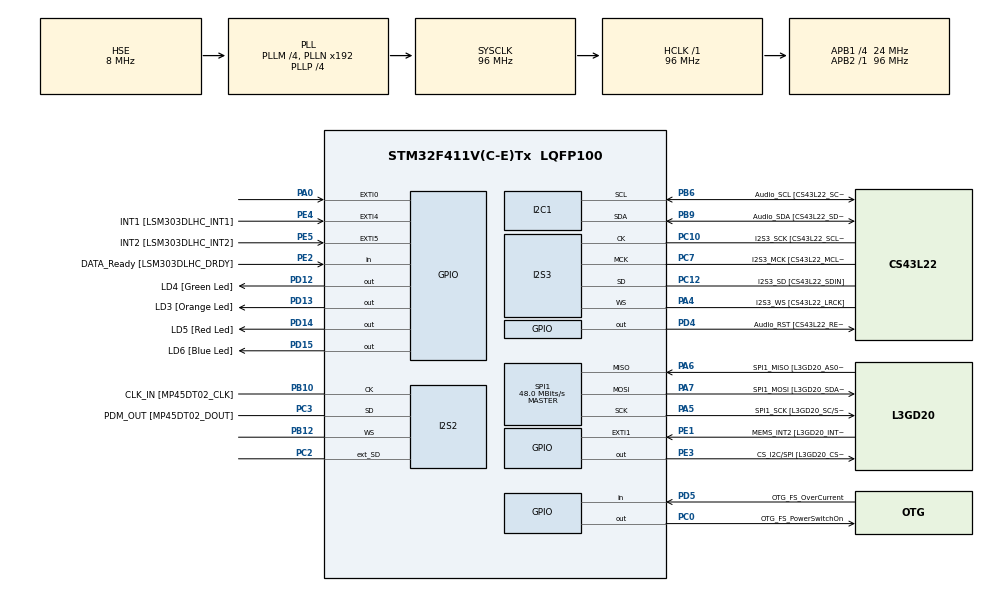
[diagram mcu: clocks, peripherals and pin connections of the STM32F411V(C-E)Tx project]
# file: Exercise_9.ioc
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FREERTOS.Mutexes01=CriticalResourceMutex,Dynamic,NULL
FREERTOS.Tasks01=GreenLED_Task,0,128,Start_GreenLED_Task,Default,NULL,Dynamic,NULL,NULL;RedLED_Task,0,128,Start_RedLED_Task,Default,NULL,Dynamic,NULL,NULL;OrangeLED_Task,1,128,Start_OrangeLED_Task,Default,NULL,Dynamic,NULL,NULL
I2S2.AudioFreq=I2S_AUDIOFREQ_96K
I2S2.ErrorAudioFreq=0.15 %
I2S2.FullDuplexMode=I2S_FULLDUPLEXMODE_ENABLE
I2S2.Instance=SPI$Index
I2S2.RealAudioFreq=96.153 KHz
I2S2.VirtualMode=I2S_MODE_MASTER
I2S3.AudioFreq=I2S_AUDIOFREQ_96K
I2S3.ErrorAudioFreq=-6.99 %
I2S3.FullDuplexMode=I2S_FULLDUPLEXMODE_DISABLE
I2S3.Instance=SPI$Index
I2S3.RealAudioFreq=89.285 KHz
I2S3.VirtualMode=I2S_MODE_MASTER
Mcu.Family=STM32F4
Mcu.Name=STM32F411V(C-E)Tx
Mcu.Package=LQFP100
NVIC.PriorityGroup=NVIC_PRIORITYGROUP_4
NVIC.TIM1_UP_TIM10_IRQn=true\:0\:0\:false\:false\:true\:false\:false\:true
NVIC.TimeBase=TIM1_UP_TIM10_IRQn
NVIC.TimeBaseIP=TIM1
PA0-WKUP.GPIO_ModeDefaultEXTI=GPIO_MODE_EVT_RISING
PA0-WKUP.Signal=GPXTI0
PA10.GPIO_Label=OTG_FS_ID
PA10.Signal=USB_OTG_FS_ID
PA11.GPIO_Label=OTG_FS_DM
PA11.Signal=USB_OTG_FS_DM
PA12.GPIO_Label=OTG_FS_DP
PA12.Signal=USB_OTG_FS_DP
PA13.GPIO_Label=SWDIO
PA13.Mode=Serial_Wire
PA13.Signal=SYS_JTMS-SWDIO
PA14.GPIO_Label=SWCLK
PA14.Mode=Serial_Wire
PA14.Signal=SYS_JTCK-SWCLK
PA4.GPIO_Label=I2S3_WS [CS43L22_LRCK]
PA4.GPIO_Mode=GPIO_MODE_AF_PP
PA4.GPIO_PuPd=GPIO_NOPULL
PA4.GPIO_Speed=GPIO_SPEED_FREQ_LOW
PA4.Mode=Half_Duplex_Master
PA4.Signal=I2S3_WS
PA5.GPIO_Label=SPI1_SCK [L3GD20_SC/SPC]
PA5.Mode=Full_Duplex_Master
PA5.Signal=SPI1_SCK
PA6.GPIO_Label=SPI1_MISO [L3GD20_AS0/SDO]
PA6.Mode=Full_Duplex_Master
PA6.Signal=SPI1_MISO
PA7.GPIO_Label=SPI1_MOSI [L3GD20_SDA/SDI/SDO]
PA7.Mode=Full_Duplex_Master
PA7.Signal=SPI1_MOSI
PA9.GPIO_Label=VBUS_FS
PA9.Signal=USB_OTG_FS_VBUS
PB10.GPIO_Label=CLK_IN [MP45DT02_CLK]
PB10.Mode=Full_Duplex_Master
PB10.Signal=I2S2_CK
PB12.Mode=Full_Duplex_Master
PB12.Signal=I2S2_WS
PB3.GPIO_Label=SWO
PB3.Signal=SYS_JTDO-SWO
PB6.GPIO_Label=Audio_SCL [CS43L22_SCL]
PB6.GPIO_Mode=GPIO_MODE_AF_OD
PB6.GPIO_PuPd=GPIO_NOPULL
PB6.GPIO_Speed=GPIO_SPEED_FREQ_LOW
PB6.Mode=I2C
PB6.Signal=I2C1_SCL
PB9.GPIO_Label=Audio_SDA [CS43L22_SDA]
PB9.GPIO_Mode=GPIO_MODE_AF_OD
PB9.GPIO_PuPd=GPIO_NOPULL
PB9.GPIO_Speed=GPIO_SPEED_FREQ_LOW
PB9.Mode=I2C
PB9.Signal=I2C1_SDA
PC0.GPIO_Label=OTG_FS_PowerSwitchOn
PC0.PinState=GPIO_PIN_SET
PC0.Signal=GPIO_Output
PC10.GPIO_Label=I2S3_SCK [CS43L22_SCLK]
PC10.GPIO_Mode=GPIO_MODE_AF_PP
PC10.GPIO_PuPd=GPIO_NOPULL
PC10.GPIO_Speed=GPIO_SPEED_FREQ_LOW
PC10.Mode=Half_Duplex_Master
PC10.Signal=I2S3_CK
PC12.GPIO_Label=I2S3_SD [CS43L22_SDIN]
PC12.GPIO_Mode=GPIO_MODE_AF_PP
PC12.GPIO_PuPd=GPIO_NOPULL
PC12.GPIO_Speed=GPIO_SPEED_FREQ_LOW
PC12.Mode=Half_Duplex_Master
PC12.Signal=I2S3_SD
PC14-OSC32_IN.GPIO_Label=PC14-OSC32_IN
PC14-OSC32_IN.Mode=LSE-External-Oscillator
PC14-OSC32_IN.Signal=RCC_OSC32_IN
PC15-OSC32_OUT.GPIO_Label=PC15-OSC32_OUT
PC15-OSC32_OUT.Mode=LSE-External-Oscillator
PC15-OSC32_OUT.Signal=RCC_OSC32_OUT
PC2.Mode=Full_Duplex_Master
PC2.Signal=I2S2_ext_SD
PC3.GPIO_Label=PDM_OUT [MP45DT02_DOUT]
PC3.Mode=Full_Duplex_Master
PC3.Signal=I2S2_SD
PC7.GPIO_Label=I2S3_MCK [CS43L22_MCLK]
PC7.GPIO_Mode=GPIO_MODE_AF_PP
PC7.GPIO_PuPd=GPIO_NOPULL
PC7.GPIO_Speed=GPIO_SPEED_FREQ_LOW
PC7.Mode=Master_Clock_Activated
PC7.Signal=I2S3_MCK
PD12.GPIO_Label=LD4 [Green Led]
PD12.GPIO_PuPd=GPIO_NOPULL
PD12.GPIO_Speed=GPIO_SPEED_FREQ_LOW
PD12.Signal=GPIO_Output
PD13.GPIO_Label=LD3 [Orange Led]
PD13.GPIO_PuPd=GPIO_NOPULL
PD13.GPIO_Speed=GPIO_SPEED_FREQ_LOW
PD13.Signal=GPIO_Output
PD14.GPIO_Label=LD5 [Red Led]
PD14.GPIO_PuPd=GPIO_NOPULL
PD14.GPIO_Speed=GPIO_SPEED_FREQ_LOW
PD14.Signal=GPIO_Output
PD15.GPIO_Label=LD6 [Blue Led]
PD15.GPIO_PuPd=GPIO_NOPULL
PD15.GPIO_Speed=GPIO_SPEED_FREQ_LOW
PD15.Signal=GPIO_Output
PD4.GPIO_Label=Audio_RST [CS43L22_RESET]
PD4.Signal=GPIO_Output
PD5.GPIO_Label=OTG_FS_OverCurrent
PD5.Signal=GPIO_Input
PE1.GPIO_Label=MEMS_INT2 [L3GD20_INT2]
PE1.GPIO_ModeDefaultEXTI=GPIO_MODE_EVT_RISING
PE1.Signal=GPXTI1
PE2.GPIO_Label=DATA_Ready [LSM303DLHC_DRDY]
PE2.Signal=GPIO_Input
PE3.GPIO_Label=CS_I2C/SPI [L3GD20_CS_I2C/SPI]
PE3.Signal=GPIO_Output
PE4.GPIO_Label=INT1 [LSM303DLHC_INT1]
PE4.GPIO_ModeDefaultEXTI=GPIO_MODE_EVT_RISING
PE4.Signal=GPXTI4
PE5.GPIO_Label=INT2 [LSM303DLHC_INT2]
PE5.GPIO_ModeDefaultEXTI=GPIO_MODE_EVT_RISING
PE5.Signal=GPXTI5
PH0\ -\ OSC_IN.GPIO_Label=PH0-OSC_IN
PH0\ -\ OSC_IN.Mode=HSE-External-Clock-Source
PH0\ -\ OSC_IN.Signal=RCC_OSC_IN
PH1\ -\ OSC_OUT.GPIO_Label=PH1-OSC_OUT
PH1\ -\ OSC_OUT.Mode=HSE-External-Clock-Source
PH1\ -\ OSC_OUT.Signal=RCC_OSC_OUT
ProjectManager.HeapSize=0x200
ProjectManager.StackSize=0x400
ProjectManager.TargetToolchain=STM32CubeIDE
RCC.48MHZClocksFreq_Value=48000000
RCC.AHBFreq_Value=96000000
RCC.APB1CLKDivider=RCC_HCLK_DIV4
RCC.APB1Freq_Value=24000000
RCC.APB1TimFreq_Value=48000000
RCC.APB2Freq_Value=96000000
RCC.APB2TimFreq_Value=96000000
RCC.CortexFreq_Value=96000000
RCC.HCLKFreq_Value=96000000
RCC.HSE_VALUE=8000000
RCC.HSI_VALUE=16000000
RCC.PLLI2SM=5
RCC.PLLI2SN=200
RCC.PLLM=4
RCC.PLLP=RCC_PLLP_DIV4
RCC.PLLQ=8
RCC.PLLSourceVirtual=RCC_PLLSOURCE_HSE
RCC.SYSCLKFreq_VALUE=96000000
RCC.SYSCLKSource=RCC_SYSCLKSOURCE_PLLCLK
RCC.VCOOutputFreq_Value=384000000
SPI1.BaudRatePrescaler=SPI_BAUDRATEPRESCALER_2
SPI1.CalculateBaudRate=48.0 MBits/s
SPI1.Direction=SPI_DIRECTION_2LINES
SPI1.Mode=SPI_MODE_MASTER
SPI1.VirtualType=VM_MASTER
VP_FREERTOS_VS_CMSIS_V1.Mode=CMSIS_V1
VP_SYS_VS_tim1.Mode=TIM1
board=STM32F411E-DISCO

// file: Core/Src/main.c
/* USER CODE BEGIN Header */
/**
  ******************************************************************************
  * @file           : main.c
  * @brief          : Main program body
  ******************************************************************************
  * @attention
  *
  * <h2><center>&copy; Copyright (c) 2023 STMicroelectronics.
  * All rights reserved.</center></h2>
  *
  * This software component is licensed by ST under Ultimate Liberty license
  * SLA0044, the "License"; You may not use this file except in compliance with
  * the License. You may obtain a copy of the License at:
  *                             www.st.com/SLA0044
  *
  ******************************************************************************
  */
/* USER CODE END Header */

#include "main.h"
#include "cmsis_os.h"

/* USER CODE BEGIN PD */
#define green GPIO_PIN_12
#define orange GPIO_PIN_13
#define red GPIO_PIN_14
#define blue GPIO_PIN_15
/* USER CODE END PD */

I2C_HandleTypeDef hi2c1;

I2S_HandleTypeDef hi2s2;
I2S_HandleTypeDef hi2s3;

SPI_HandleTypeDef hspi1;

osThreadId GreenLED_TaskHandle;
osThreadId RedLED_TaskHandle;
osThreadId OrangeLED_TaskHandle;
osMutexId CriticalResourceMutexHandle;
/* USER CODE BEGIN PV */
int Start_Flag = 1;
/* USER CODE END PV */

void SystemClock_Config(void);
static void MX_GPIO_Init(void);
static void MX_I2C1_Init(void);
static void MX_I2S2_Init(void);
static void MX_I2S3_Init(void);
static void MX_SPI1_Init(void);
void Start_GreenLED_Task(void const * argument);
void Start_RedLED_Task(void const * argument);
void Start_OrangeLED_Task(void const * argument);

int main(void)
{

  /* MCU Configuration--------------------------------------------------------*/

  /* Reset of all peripherals, Initializes the Flash interface and the Systick. */
  HAL_Init();

  /* Configure the system clock */
  SystemClock_Config();

  /* Initialize all configured peripherals */
  MX_GPIO_Init();
  MX_I2C1_Init();
  MX_I2S2_Init();
  MX_I2S3_Init();
  MX_SPI1_Init();

  /* Create the mutex(es) */
  /* definition and creation of CriticalResourceMutex */
  osMutexDef(CriticalResourceMutex);
  CriticalResourceMutexHandle = osMutexCreate(osMutex(CriticalResourceMutex));

  /* Create the thread(s) */
  /* definition and creation of GreenLED_Task */
  osThreadDef(GreenLED_Task, Start_GreenLED_Task, osPriorityNormal, 0, 128);
  GreenLED_TaskHandle = osThreadCreate(osThread(GreenLED_Task), NULL);

  /* definition and creation of RedLED_Task */
  osThreadDef(RedLED_Task, Start_RedLED_Task, osPriorityNormal, 0, 128);
  RedLED_TaskHandle = osThreadCreate(osThread(RedLED_Task), NULL);

  /* definition and creation of OrangeLED_Task */
  osThreadDef(OrangeLED_Task, Start_OrangeLED_Task, osPriorityAboveNormal, 0, 128);
  OrangeLED_TaskHandle = osThreadCreate(osThread(OrangeLED_Task), NULL);

  /* Start scheduler */
  osKernelStart();

  /* We should never get here as control is now taken by the scheduler */

  /* Infinite loop */
  while (1)
  {

  }
}

void SystemClock_Config(void)
{
  RCC_OscInitTypeDef RCC_OscInitStruct = {0};
  RCC_ClkInitTypeDef RCC_ClkInitStruct = {0};
  RCC_PeriphCLKInitTypeDef PeriphClkInitStruct = {0};

  /** Configure the main internal regulator output voltage
  */
  __HAL_RCC_PWR_CLK_ENABLE();
  __HAL_PWR_VOLTAGESCALING_CONFIG(PWR_REGULATOR_VOLTAGE_SCALE1);
  /** Initializes the CPU, AHB and APB busses clocks
  */
  RCC_OscInitStruct.OscillatorType = RCC_OSCILLATORTYPE_HSE;
  RCC_OscInitStruct.HSEState = RCC_HSE_BYPASS;
  RCC_OscInitStruct.PLL.PLLState = RCC_PLL_ON;
  RCC_OscInitStruct.PLL.PLLSource = RCC_PLLSOURCE_HSE;
  RCC_OscInitStruct.PLL.PLLM = 4;
  RCC_OscInitStruct.PLL.PLLN = 192;
  RCC_OscInitStruct.PLL.PLLP = RCC_PLLP_DIV4;
  RCC_OscInitStruct.PLL.PLLQ = 8;
  if (HAL_RCC_OscConfig(&RCC_OscInitStruct) != HAL_OK)
  {
    Error_Handler();
  }
  /** Initializes the CPU, AHB and APB busses clocks
  */
  RCC_ClkInitStruct.ClockType = RCC_CLOCKTYPE_HCLK|RCC_CLOCKTYPE_SYSCLK
                              |RCC_CLOCKTYPE_PCLK1|RCC_CLOCKTYPE_PCLK2;
  RCC_ClkInitStruct.SYSCLKSource = RCC_SYSCLKSOURCE_PLLCLK;
  RCC_ClkInitStruct.AHBCLKDivider = RCC_SYSCLK_DIV1;
  RCC_ClkInitStruct.APB1CLKDivider = RCC_HCLK_DIV4;
  RCC_ClkInitStruct.APB2CLKDivider = RCC_HCLK_DIV1;

  if (HAL_RCC_ClockConfig(&RCC_ClkInitStruct, FLASH_LATENCY_3) != HAL_OK)
  {
    Error_Handler();
  }
  PeriphClkInitStruct.PeriphClockSelection = RCC_PERIPHCLK_I2S;
  PeriphClkInitStruct.PLLI2S.PLLI2SN = 200;
  PeriphClkInitStruct.PLLI2S.PLLI2SM = 5;
  PeriphClkInitStruct.PLLI2S.PLLI2SR = 2;
  if (HAL_RCCEx_PeriphCLKConfig(&PeriphClkInitStruct) != HAL_OK)
  {
    Error_Handler();
  }
}

static void MX_I2C1_Init(void)
{

  hi2c1.Instance = I2C1;
  hi2c1.Init.ClockSpeed = 100000;
  hi2c1.Init.DutyCycle = I2C_DUTYCYCLE_2;
  hi2c1.Init.OwnAddress1 = 0;
  hi2c1.Init.AddressingMode = I2C_ADDRESSINGMODE_7BIT;
  hi2c1.Init.DualAddressMode = I2C_DUALADDRESS_DISABLE;
  hi2c1.Init.OwnAddress2 = 0;
  hi2c1.Init.GeneralCallMode = I2C_GENERALCALL_DISABLE;
  hi2c1.Init.NoStretchMode = I2C_NOSTRETCH_DISABLE;
  if (HAL_I2C_Init(&hi2c1) != HAL_OK)
  {
    Error_Handler();
  }

}

static void MX_I2S2_Init(void)
{

  hi2s2.Instance = SPI2;
  hi2s2.Init.Mode = I2S_MODE_MASTER_TX;
  hi2s2.Init.Standard = I2S_STANDARD_PHILIPS;
  hi2s2.Init.DataFormat = I2S_DATAFORMAT_16B;
  hi2s2.Init.MCLKOutput = I2S_MCLKOUTPUT_DISABLE;
  hi2s2.Init.AudioFreq = I2S_AUDIOFREQ_96K;
  hi2s2.Init.CPOL = I2S_CPOL_LOW;
  hi2s2.Init.ClockSource = I2S_CLOCK_PLL;
  hi2s2.Init.FullDuplexMode = I2S_FULLDUPLEXMODE_ENABLE;
  if (HAL_I2S_Init(&hi2s2) != HAL_OK)
  {
    Error_Handler();
  }

}

static void MX_I2S3_Init(void)
{

  hi2s3.Instance = SPI3;
  hi2s3.Init.Mode = I2S_MODE_MASTER_TX;
  hi2s3.Init.Standard = I2S_STANDARD_PHILIPS;
  hi2s3.Init.DataFormat = I2S_DATAFORMAT_16B;
  hi2s3.Init.MCLKOutput = I2S_MCLKOUTPUT_ENABLE;
  hi2s3.Init.AudioFreq = I2S_AUDIOFREQ_96K;
  hi2s3.Init.CPOL = I2S_CPOL_LOW;
  hi2s3.Init.ClockSource = I2S_CLOCK_PLL;
  hi2s3.Init.FullDuplexMode = I2S_FULLDUPLEXMODE_DISABLE;
  if (HAL_I2S_Init(&hi2s3) != HAL_OK)
  {
    Error_Handler();
  }

}

static void MX_SPI1_Init(void)
{

  /* SPI1 parameter configuration*/
  hspi1.Instance = SPI1;
  hspi1.Init.Mode = SPI_MODE_MASTER;
  hspi1.Init.Direction = SPI_DIRECTION_2LINES;
  hspi1.Init.DataSize = SPI_DATASIZE_8BIT;
  hspi1.Init.CLKPolarity = SPI_POLARITY_LOW;
  hspi1.Init.CLKPhase = SPI_PHASE_1EDGE;
  hspi1.Init.NSS = SPI_NSS_SOFT;
  hspi1.Init.BaudRatePrescaler = SPI_BAUDRATEPRESCALER_2;
  hspi1.Init.FirstBit = SPI_FIRSTBIT_MSB;
  hspi1.Init.TIMode = SPI_TIMODE_DISABLE;
  hspi1.Init.CRCCalculation = SPI_CRCCALCULATION_DISABLE;
  hspi1.Init.CRCPolynomial = 10;
  if (HAL_SPI_Init(&hspi1) != HAL_OK)
  {
    Error_Handler();
  }

}

static void MX_GPIO_Init(void)
{
  GPIO_InitTypeDef GPIO_InitStruct = {0};

  /* GPIO Ports Clock Enable */
  __HAL_RCC_GPIOE_CLK_ENABLE();
  __HAL_RCC_GPIOC_CLK_ENABLE();
  __HAL_RCC_GPIOH_CLK_ENABLE();
  __HAL_RCC_GPIOA_CLK_ENABLE();
  __HAL_RCC_GPIOB_CLK_ENABLE();
  __HAL_RCC_GPIOD_CLK_ENABLE();

  /*Configure GPIO pin Output Level */
  HAL_GPIO_WritePin(CS_I2C_SPI_GPIO_Port, CS_I2C_SPI_Pin, GPIO_PIN_RESET);

  /*Configure GPIO pin Output Level */
  HAL_GPIO_WritePin(OTG_FS_PowerSwitchOn_GPIO_Port, OTG_FS_PowerSwitchOn_Pin, GPIO_PIN_SET);

  /*Configure GPIO pin Output Level */
  HAL_GPIO_WritePin(GPIOD, LD4_Pin|LD3_Pin|LD5_Pin|LD6_Pin
                          |Audio_RST_Pin, GPIO_PIN_RESET);

  /*Configure GPIO pin : DATA_Ready_Pin */
  GPIO_InitStruct.Pin = DATA_Ready_Pin;
  GPIO_InitStruct.Mode = GPIO_MODE_INPUT;
  GPIO_InitStruct.Pull = GPIO_NOPULL;
  HAL_GPIO_Init(DATA_Ready_GPIO_Port, &GPIO_InitStruct);

  /*Configure GPIO pin : CS_I2C_SPI_Pin */
  GPIO_InitStruct.Pin = CS_I2C_SPI_Pin;
  GPIO_InitStruct.Mode = GPIO_MODE_OUTPUT_PP;
  GPIO_InitStruct.Pull = GPIO_NOPULL;
  GPIO_InitStruct.Speed = GPIO_SPEED_FREQ_LOW;
  HAL_GPIO_Init(CS_I2C_SPI_GPIO_Port, &GPIO_InitStruct);

  /*Configure GPIO pins : INT1_Pin INT2_Pin MEMS_INT2_Pin */
  GPIO_InitStruct.Pin = INT1_Pin|INT2_Pin|MEMS_INT2_Pin;
  GPIO_InitStruct.Mode = GPIO_MODE_EVT_RISING;
  GPIO_InitStruct.Pull = GPIO_NOPULL;
  HAL_GPIO_Init(GPIOE, &GPIO_InitStruct);

  /*Configure GPIO pin : OTG_FS_PowerSwitchOn_Pin */
  GPIO_InitStruct.Pin = OTG_FS_PowerSwitchOn_Pin;
  GPIO_InitStruct.Mode = GPIO_MODE_OUTPUT_PP;
  GPIO_InitStruct.Pull = GPIO_NOPULL;
  GPIO_InitStruct.Speed = GPIO_SPEED_FREQ_LOW;
  HAL_GPIO_Init(OTG_FS_PowerSwitchOn_GPIO_Port, &GPIO_InitStruct);

  /*Configure GPIO pin : PA0 */
  GPIO_InitStruct.Pin = GPIO_PIN_0;
  GPIO_InitStruct.Mode = GPIO_MODE_EVT_RISING;
  GPIO_InitStruct.Pull = GPIO_NOPULL;
  HAL_GPIO_Init(GPIOA, &GPIO_InitStruct);

  /*Configure GPIO pins : LD4_Pin LD3_Pin LD5_Pin LD6_Pin
                           Audio_RST_Pin */
  GPIO_InitStruct.Pin = LD4_Pin|LD3_Pin|LD5_Pin|LD6_Pin
                          |Audio_RST_Pin;
  GPIO_InitStruct.Mode = GPIO_MODE_OUTPUT_PP;
  GPIO_InitStruct.Pull = GPIO_NOPULL;
  GPIO_InitStruct.Speed = GPIO_SPEED_FREQ_LOW;
  HAL_GPIO_Init(GPIOD, &GPIO_InitStruct);

  /*Configure GPIO pin : VBUS_FS_Pin */
  GPIO_InitStruct.Pin = VBUS_FS_Pin;
  GPIO_InitStruct.Mode = GPIO_MODE_INPUT;
  GPIO_InitStruct.Pull = GPIO_NOPULL;
  HAL_GPIO_Init(VBUS_FS_GPIO_Port, &GPIO_InitStruct);

  /*Configure GPIO pins : OTG_FS_ID_Pin OTG_FS_DM_Pin OTG_FS_DP_Pin */
  GPIO_InitStruct.Pin = OTG_FS_ID_Pin|OTG_FS_DM_Pin|OTG_FS_DP_Pin;
  GPIO_InitStruct.Mode = GPIO_MODE_AF_PP;
  GPIO_InitStruct.Pull = GPIO_NOPULL;
  GPIO_InitStruct.Speed = GPIO_SPEED_FREQ_VERY_HIGH;
  GPIO_InitStruct.Alternate = GPIO_AF10_OTG_FS;
  HAL_GPIO_Init(GPIOA, &GPIO_InitStruct);

  /*Configure GPIO pin : OTG_FS_OverCurrent_Pin */
  GPIO_InitStruct.Pin = OTG_FS_OverCurrent_Pin;
  GPIO_InitStruct.Mode = GPIO_MODE_INPUT;
  GPIO_InitStruct.Pull = GPIO_NOPULL;
  HAL_GPIO_Init(OTG_FS_OverCurrent_GPIO_Port, &GPIO_InitStruct);

}

/* USER CODE BEGIN 4 */
void Access_Function()
{
	if (Start_Flag == 1)
	{
		Start_Flag = 0;
	}
	else
	{
		HAL_GPIO_TogglePin(GPIOD, blue); // toggle the blue LED
	}
	for(int i = 0; i < 500000; i++); // delay for 0.5 sec
	Start_Flag = 1; // reset the flag
}
/* USER CODE END 4 */

void Start_GreenLED_Task(void const * argument)
{
  /* USER CODE BEGIN 5 */
  /* Infinite loop */
  for(;;)
  {
	  HAL_GPIO_WritePin(GPIOD, green, GPIO_PIN_SET);
	  osMutexWait(CriticalResourceMutexHandle, 1000);// Mutex (wait for 1000 ms)
	  Access_Function();
	  osMutexRelease(CriticalResourceMutexHandle);// Mutex (resume)
	  vTaskDelay(200);
	  HAL_GPIO_WritePin(GPIOD, green, GPIO_PIN_RESET);
	  vTaskDelay(200);
  }
  /* USER CODE END 5 */
}

void Start_RedLED_Task(void const * argument)
{
  /* USER CODE BEGIN Start_RedLED_Task */
  /* Infinite loop */
  for(;;)
  {
	  HAL_GPIO_WritePin(GPIOD, red, GPIO_PIN_SET);
	  osMutexWait(CriticalResourceMutexHandle, 1000);// Mutex (wait for 1000 ms)
	  Access_Function();
	  osMutexRelease(CriticalResourceMutexHandle);// Mutex (resume)
	  vTaskDelay(550);
	  HAL_GPIO_WritePin(GPIOD, red, GPIO_PIN_RESET);
	  vTaskDelay(550);
  }
  /* USER CODE END Start_RedLED_Task */
}

void Start_OrangeLED_Task(void const * argument)
{
  /* USER CODE BEGIN Start_OrangeLED_Task */
  /* Infinite loop */
  for(;;)
  {
	  HAL_GPIO_TogglePin(GPIOD, orange);
	  vTaskDelay(50);
  }
  /* USER CODE END Start_OrangeLED_Task */
}

void HAL_TIM_PeriodElapsedCallback(TIM_HandleTypeDef *htim)
{
  if (htim->Instance == TIM1) {
    HAL_IncTick();
  }
}

void Error_Handler(void)
{
}

/************************ (C) COPYRIGHT STMicroelectronics *****END OF FILE****/
